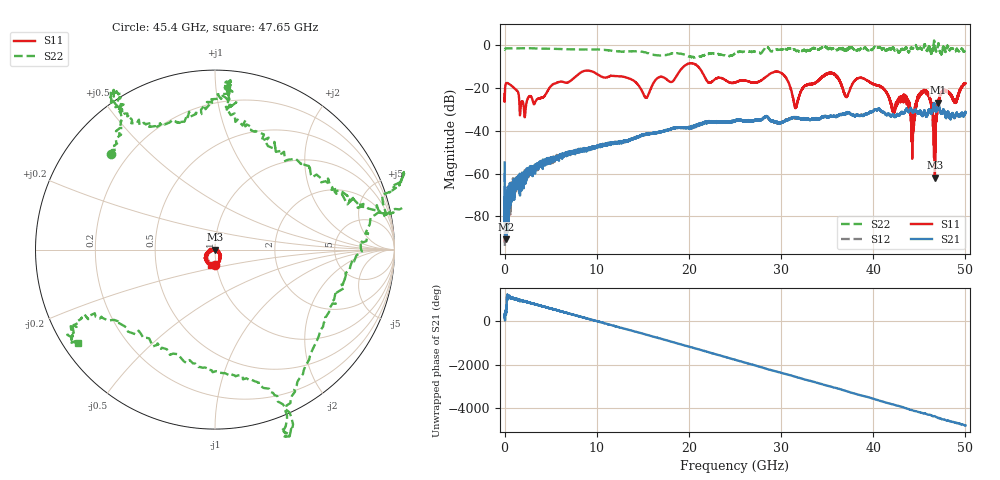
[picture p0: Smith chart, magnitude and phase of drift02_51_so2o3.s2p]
!Created with skrf (http://scikit-rf.org).
# Hz S RI R 50.0
!freq ReS11 ImS11 ReS21 ImS21 ReS12 ImS12 ReS22 ImS22
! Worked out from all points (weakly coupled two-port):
!   10001 points, 300 kHz to 50 GHz, reference 50 ohm
!   highest |S21| = -26.89 dB at 47.07 GHz (marker M1); lowest = -90.7 dB at 140.3 MHz (marker M2)
!   lowest |S11| = -61.9 dB at 46.69 GHz (marker M3), VSWR 1.00, Z = 50 - j0.0801 ohm
!   |S11| at or under -10 dB: start of sweep to 19.42 GHz; 21.01 GHz to end of sweep
!   |S22| runs from -5.7 to 2.3 dB; largest |S21 - S12| = 0.0032
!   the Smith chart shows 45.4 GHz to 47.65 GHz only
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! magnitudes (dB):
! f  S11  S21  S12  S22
! 300 kHz  -22.8  -54.8  -59.9  -2.1
! 140.3 MHz  -17.8  -90.7  -74.5  -1.5
! 2.185 GHz  -33.6  -63.4  -58.4  -1.3
! 8.335 GHz  -12.5  -49.1  -48.8  -1.9
! 13.51 GHz  -15.5  -44.5  -44.4  -2.8
! 15.34 GHz  -24.6  -41.6  -41.5  -3.3
! 16.67 GHz  -15.1  -40.9  -40.9  -4.7
! 20.3 GHz  -8.4  -38.5  -38.5  -5.5
! 25 GHz  -17.3  -35.3  -35.3  -3.9
! 29.85 GHz  -12.6  -36.4  -36.5  -2.0
! 31.59 GHz  -28.8  -33.8  -34.1  -2.4
! 33.34 GHz  -18.1  -34.4  -34.4  -1.6
! 35.61 GHz  -13.1  -33.2  -33.2  -1.6
! 37.1 GHz  -24.1  -31.7  -31.7  -2.2
! 38.75 GHz  -15.2  -32.8  -32.6  -1.0
! 41.67 GHz  -23.9  -32.2  -32.1  -2.0
! 43.56 GHz  -25.6  -30.0  -29.9  -1.0
! 44.26 GHz  -38.2  -31.0  -31.1  -1.4
! 45.74 GHz  -21.0  -32.8  -32.8  -1.4
! 46.69 GHz  -61.9  -29.2  -29.1  -0.3
! 47.07 GHz  -26.1  -26.9  -27.2  0.9
! 50 GHz  -17.8  -31.4  -31.3  -2.6
